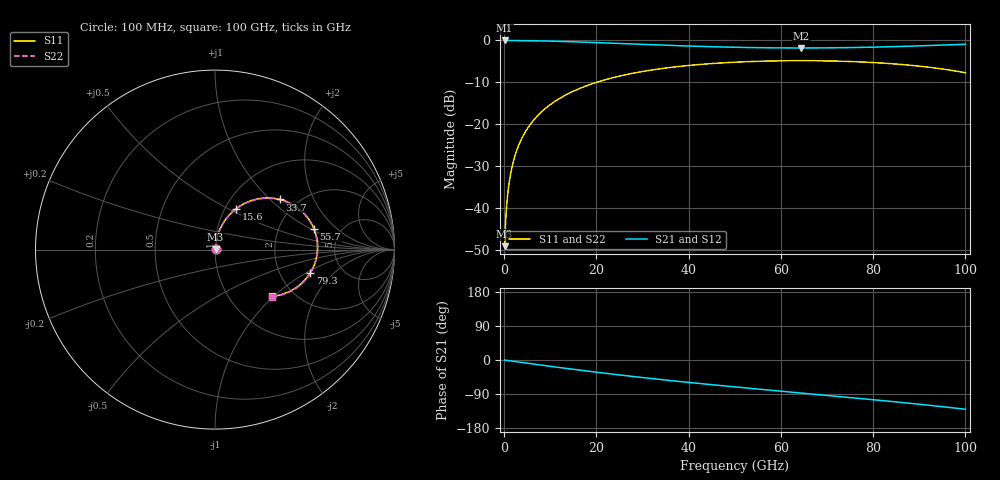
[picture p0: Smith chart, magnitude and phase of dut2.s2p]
! Touchstone file exported from HFSS 2026.1.0
!  File:  C:/ffzhzh/LocalFiles/Ansys_Project_Files/temp_train_RDL_2_1783497506_44152.aedt
!  Generated:  03:59:38 PM Jul  8, 2026
!  Design:  RDL
!  Project:  temp_train_RDL_2_1783497506_44152
! Variables:
!  h_bsmrdl = 2um
!  h_ox = 20um
!  h_rdl = 5um
!  h_sub = 80um
!  h_tmrdl = 2.58um
!  h_tsv = 80um
!  h_via = 3um
!  l_bsmrdl = 300um
!  l_sub = 836.06um
!  l_tmrdl = 436.06um
!  m_sub = 200um
!  pitch = 50.99um
!  r_tsv = 6um
!  s_tmrdl = 10um
!  w_bsmrdl = 18um
!  w_sub = 500um
!  w_tmrdl = 23.01um
!  x_tsv_center1 = 447.565um
!  x_tsv_center2 = 765.565um
!  x_tsv_center3 = 1224.635um
!  x_tsv_center4 = 1542.635um
!  x_tsv_center5 = 2001.705um
!  x_tsv_center6 = 2319.705um
# GHz S MA R 50.000000
! Terminal data exported
! Port[1] = TM_RDL1_1_T1
! Port[2] = TM_RDL1_1_T2
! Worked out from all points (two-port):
!   1000 points, 100 MHz to 100 GHz, reference 50 ohm
!   highest |S21| = -0.02 dB at 100 MHz (marker M1); lowest = -1.8 dB at 64.4 GHz (marker M2)
!   |S21| within 3 dB of the highest: start of sweep to end of sweep
!   lowest |S11| = -49.2 dB at 100 MHz (marker M3), VSWR 1.01, Z = 50.3 + j0.195 ohm
!   |S11| at or under -10 dB: start of sweep to 20.14 GHz
!   |S22| runs from -49.2 to -4.9 dB; largest |S21 - S12| = 1.6e-14
!   S11 on the Smith chart (normalised r, x): 100 MHz: 1.01, +0.00; 15.6 GHz: 1.12, +0.55; 33.7 GHz: 1.63, +1.15; 55.7 GHz: 3.17, +1.09; 79.3 GHz: 2.95, -1.10; 100 GHz: 1.56, -0.97
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0.1  0.003466 34.1  0.9971 -0.2  0.9971 -0.2  0.003466 34.1
! Gamma 0 0 0 0
! Port Impedance 50 0 50 0
0.9  0.01671 76.0  0.9963 -1.5  0.9963 -1.5  0.01671 76.0
1.2  0.02185 78.2  0.9961 -2.1  0.9961 -2.1  0.02185 78.2
1.5  0.02703 79.4  0.9959 -2.6  0.9959 -2.6  0.02704 79.4
2.5  0.0444 80.6  0.995 -4.2  0.995 -4.2  0.0444 80.6
3.9  0.06868 79.8  0.9934 -6.6  0.9934 -6.6  0.06868 79.8
5.9  0.1029 77.4  0.9899 -9.9  0.9899 -9.9  0.1029 77.4
8.5  0.1462 73.6  0.9836 -14.2  0.9836 -14.2  0.1462 73.5
11.7  0.1972 68.7  0.9737 -19.4  0.9737 -19.4  0.1972 68.6
15.6  0.2551 62.8  0.9591 -25.5  0.9591 -25.5  0.2551 62.7
16.8  0.2719 61.0  0.9542 -27.4  0.9542 -27.4  0.2719 60.9
24.2  0.3649 50.4  0.9217 -38.3  0.9217 -38.3  0.3649 50.2
33.4  0.4541 38.1  0.881 -50.8  0.881 -50.8  0.4541 37.8
33.7  0.4565 37.8  0.8798 -51.2  0.8798 -51.2  0.4565 37.5
50.1  0.5484 18.3  0.8263 -71.1  0.8263 -71.1  0.5483 17.8
55.7  0.5633 12.0  0.8164 -77.4  0.8164 -77.4  0.5632 11.6
64.4  0.5719 2.6  0.8105 -87.1  0.8105 -87.1  0.5718 2.1
66.7  0.5712 0.1  0.8109 -89.6  0.8109 -89.6  0.5712 -0.4
79.3  0.5457 -13.9  0.8275 -103.8  0.8275 -103.8  0.5456 -14.4
83.4  0.5288 -18.6  0.8379 -108.7  0.8379 -108.7  0.5287 -19.1
92.3  0.4758 -29.4  0.8675 -119.7  0.8675 -119.7  0.4756 -29.8
100  0.41 -39.4  0.8986 -130.0  0.8986 -130.0  0.4098 -39.6
